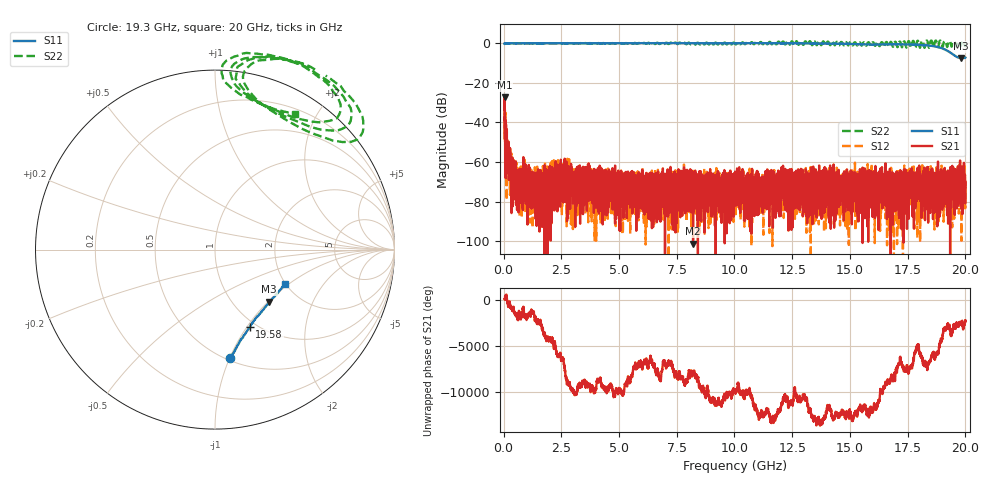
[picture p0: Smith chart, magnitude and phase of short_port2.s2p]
!Agilent Technologies,E8364A,US41440322,A.04.87.01
!Agilent E8364A: A.04.87.01
!Date: Tuesday, July 16, 2024 12:10:55
!Correction: S11(Full 2 Port SOLT,1,2) S21(Full 2 Port SOLT,1,2) S12(Full 2 Port SOLT,1,2) S22(Full 2 Port SOLT,1,2)
!S2P File: Measurements: S11, S21, S12, S22:
# Hz S  dB  R 50
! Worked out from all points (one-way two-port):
!   6401 points, 45 MHz to 20 GHz, reference 50 ohm
!   highest |S21| = -27.24 dB at 48.12 MHz (marker M1); lowest = -101.4 dB at 8.208 GHz (marker M2)
!   lowest |S11| = -7.6 dB at 19.82 GHz (marker M3), VSWR 2.44, Z = 72.1 - j50.8 ohm
!   |S11| at or under -10 dB: nowhere
!   |S22| runs from -2.3 to 1.5 dB; largest |S21 - S12| = 0.044
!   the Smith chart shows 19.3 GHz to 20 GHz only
!   S11 on the Smith chart (normalised r, x): 19.3 GHz: 0.53, -1.01; 19.58 GHz: 0.93, -1.03; 20 GHz: 1.98, -0.95
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4.5e7  0.01 3.5  -33.66 161.2  -32.11 -179.1  0.03 -179.0
4.811797e7  0.17 3.5  -27.24 141.4  -39.09 56.6  -0.23 -177.8
2.102523e8  -0.04 7.2  -53.72 -126.0  -62.70 -148.5  0.04 -177.5
5.875266e8  0.02 20.2  -64.23 135.7  -67.81 -155.9  0.05 -173.6
2.031146e9  0.08 71.2  -71.23 153.4  -61.15 -132.5  0.06 -153.8
2.617324e9  0.05 91.6  -69.86 -86.4  -77.80 60.8  0.05 -145.8
3.371873e9  0.04 118.1  -70.31 -60.3  -74.06 64.8  0.07 -137.5
5.00257e9  0.02 174.9  -65.66 -60.2  -72.65 -65.7  -0.18 -119.9
6.698745e9  0.05 -129.0  -84.79 -140.9  -75.17 -102.8  0.11 -93.6
8.207842e9  0.07 -79.5  -101.37 48.9  -70.59 50.7  0.41 -83.3
1.00225e10  0.04 -19.8  -79.15 -101.2  -70.84 -121.5  -0.08 -49.8
1.076769e10  0.07 4.8  -68.86 69.1  -77.69 -37.3  0.49 -43.7
1.157213e10  0.07 32.2  -77.97 105.2  -70.56 129.1  0.21 -27.8
1.247946e10  0.04 63.6  -64.69 -174.5  -72.27 -124.5  1.01 -30.9
1.334937e10  -0.02 95.0  -70.79 149.7  -70.26 -69.2  -0.74 -7.9
1.502372e10  -0.28 153.4  -71.04 -53.1  -73.96 -41.5  0.58 7.7
1.667625e10  -0.49 -149.8  -76.43 -122.5  -75.15 -142.9  -1.58 28.3
1.815416e10  -0.86 -107.5  -71.88 -59.0  -77.28 159.6  1.11 55.6
1.930158e10  -4.32 -81.8  -82.38 -124.7  -66.09 -177.3  1.27 53.2
1.958219e10  -6.53 -65.7  -74.90 126.4  -70.68 175.7  -1.14 77.0
1.982228e10  -7.56 -43.9  -66.26 138.9  -67.78 -144.0  -0.53 49.3
2e10  -7.21 -26.5  -70.09 -65.9  -68.22 -87.6  -1.15 59.5
